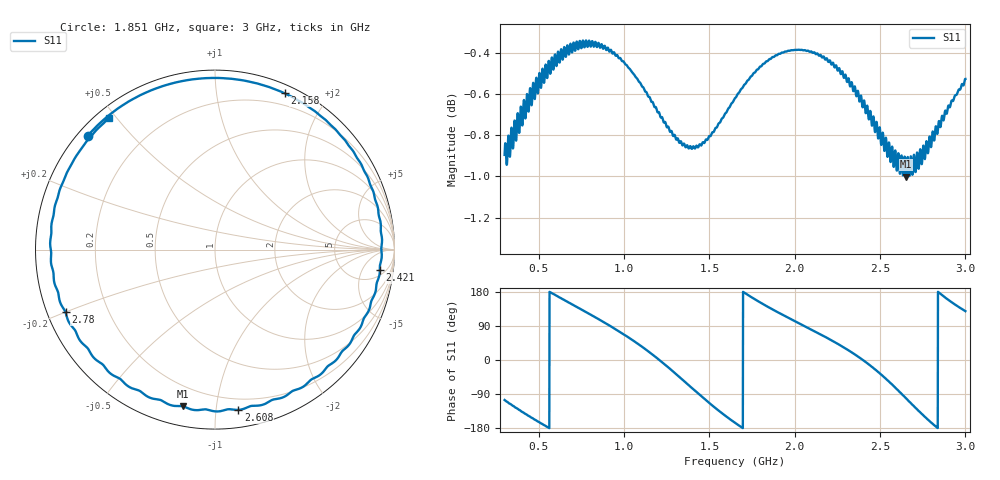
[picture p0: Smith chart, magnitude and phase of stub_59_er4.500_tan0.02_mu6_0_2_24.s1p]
! Chirptenna · simulación 3D de un stub abierto
# HZ S RI R 50
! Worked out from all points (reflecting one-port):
!   2001 points, 300 MHz to 3 GHz, reference 50 ohm
!   lowest |S11| = -1.0 dB at 2.653 GHz (marker M1), VSWR 17.38, Z = 4.78 - j40.5 ohm
!   phase of S11 starts at -106 deg and turns -846 deg over the sweep
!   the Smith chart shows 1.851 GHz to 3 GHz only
!   S11 on the Smith chart (normalised r, x): 1.851 GHz: 0.03, +0.38; 2.158 GHz: 0.08, +1.54; 2.421 GHz: 7, -12; 2.608 GHz: 0.12, -1.15; 2.78 GHz: 0.05, -0.20; 3 GHz: 0.04, +0.48
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3e8  -0.2421 -0.8689
3.837e8  -0.6049 -0.6854
4.7685e8  -0.858 -0.3604
6.375e8  -0.9011 0.3091
8.2245e8  -0.4041 0.869
9.75e8  0.2574 0.9169
1.0668e9  0.6406 0.6911
1.164e9  0.8962 0.2454
1.23825e9  0.9004 -0.1827
1.3125e9  0.6967 -0.586
1.39215e9  0.2824 -0.8607
1.4664e9  -0.1739 -0.8914
1.5636e9  -0.671 -0.6275
1.65e9  -0.9023 -0.2299
1.7445e9  -0.9156 0.2238
1.85115e9  -0.7089 0.635
1.9875e9  -0.2563 0.9214
2.1576e9  0.3873 0.8706
2.325e9  0.8649 0.3611
2.42085e9  0.9187 -0.1136
2.50725e9  0.7071 -0.5682
2.6085e9  0.1303 -0.893
2.65305e9  -0.1794 -0.8729
2.6625e9  -0.2475 -0.8663
2.7273e9  -0.6303 -0.6363
2.77995e9  -0.8324 -0.3496
2.8731e9  -0.8989 0.195
3e9  -0.5914 0.7322
